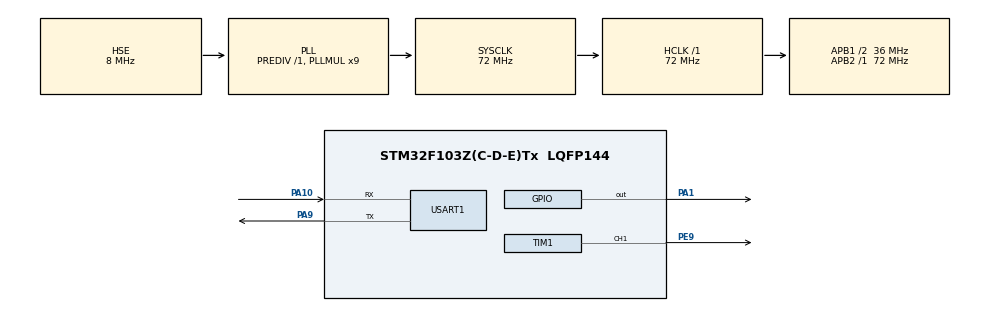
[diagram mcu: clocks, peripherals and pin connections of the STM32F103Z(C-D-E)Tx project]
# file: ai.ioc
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Mcu.Family=STM32F1
Mcu.Name=STM32F103Z(C-D-E)Tx
Mcu.Package=LQFP144
NVIC.PriorityGroup=NVIC_PRIORITYGROUP_4
NVIC.USART1_IRQn=true\:0\:0\:false\:false\:true\:true\:true\:true
OSC_IN.Mode=HSE-External-Oscillator
OSC_IN.Signal=RCC_OSC_IN
OSC_OUT.Mode=HSE-External-Oscillator
OSC_OUT.Signal=RCC_OSC_OUT
PA1.Signal=GPIO_Output
PA10.Mode=Asynchronous
PA10.Signal=USART1_RX
PA13.Mode=Serial_Wire
PA13.Signal=SYS_JTMS-SWDIO
PA14.Mode=Serial_Wire
PA14.Signal=SYS_JTCK-SWCLK
PA9.Mode=Asynchronous
PA9.Signal=USART1_TX
PE9.Signal=S_TIM1_CH1
ProjectManager.HeapSize=0x200
ProjectManager.StackSize=0x400
ProjectManager.TargetToolchain=MDK-ARM V5.32
RCC.AHBFreq_Value=72000000
RCC.APB1CLKDivider=RCC_HCLK_DIV2
RCC.APB1Freq_Value=36000000
RCC.APB1TimFreq_Value=72000000
RCC.APB2Freq_Value=72000000
RCC.APB2TimFreq_Value=72000000
RCC.HCLKFreq_Value=72000000
RCC.PLLMUL=RCC_PLL_MUL9
RCC.PLLSourceVirtual=RCC_PLLSOURCE_HSE
RCC.SYSCLKFreq_VALUE=72000000
RCC.SYSCLKSource=RCC_SYSCLKSOURCE_PLLCLK
RCC.USBFreq_Value=72000000
SH.S_TIM1_CH1.0=TIM1_CH1,PWM Generation1 CH1
TIM1.Channel-PWM\ Generation1\ CH1=TIM_CHANNEL_1
TIM1.Prescaler=72-1
USART1.VirtualMode=VM_ASYNC
board=custom

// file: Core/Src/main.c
/* USER CODE BEGIN Header */
/**
  ******************************************************************************
  * @file           : main.c
  * @brief          : Main program body
  ******************************************************************************
  * @attention
  *
  * Copyright (c) 2026 STMicroelectronics.
  * All rights reserved.
  *
  * This software is licensed under terms that can be found in the LICENSE file
  * in the root directory of this software component.
  * If no LICENSE file comes with this software, it is provided AS-IS.
  *
  ******************************************************************************
  */
/* USER CODE END Header */
#include "main.h"
#include "tim.h"
#include "usart.h"
#include "gpio.h"

/* USER CODE BEGIN Includes */
#include "gimbal.h"
/* USER CODE END Includes */

/* USER CODE BEGIN PV */
uint8_t rx_byte;                       /* USART1 单字节接收缓冲 */

/* 串口空闲计数：超过阈值即认为一帧已结束 */
uint32_t uart_idle_ticks = 0;
/* USER CODE END PV */

void SystemClock_Config(void);

/* USER CODE BEGIN 0 */
/* 二自由度云台协议解析、PWM 输出与角度限幅均在 gimbal.c / gimbal.h 中实现
 *
 * 上位机（AstrBot 插件）发送：
 *   "g1,<角度>a2,<角度>r"  同时设置两轴（1 = 水平舵机 PE9，2 = 竖直舵机 PE11）
 *   "s1,<角度>r"           只设置某一个轴
 */
#define UART_IDLE_RESET_TICKS   20U    /* 200ms 无新字节即认为帧已结束 */
#define LED_RX_PORT             GPIOA  /* 收到有效帧时的指示引脚     */
#define LED_RX_PIN              GPIO_PIN_1
/* USER CODE END 0 */

int main(void)
{

  /* MCU Configuration--------------------------------------------------------*/

  /* Reset of all peripherals, Initializes the Flash interface and the Systick. */
  HAL_Init();

  /* Configure the system clock */
  SystemClock_Config();

  /* Initialize all configured peripherals */
  MX_GPIO_Init();
  MX_TIM1_Init();
  MX_USART1_UART_Init();
  /* USER CODE BEGIN 2 */
    /* 初始化二自由度云台：启动 TIM1_CH1(PE9) / TIM1_CH2(PE11) 两路 PWM
       并把两个舵机都归中到 90° 正前方 */
    Gimbal_Init();

    /* 启动 USART1 单字节中断接收，字节在回调中送入云台解析状态机 */
    (void)HAL_UART_Receive_IT(&huart1, &rx_byte, 1);
  /* USER CODE END 2 */

  /* Infinite loop */
  while (1)
  {

    /* USER CODE BEGIN 3 */
      /* 空闲超时保护：上位机若只发了一半就断开，把残帧丢掉复位解析器 */
      if (uart_idle_ticks < UART_IDLE_RESET_TICKS)
      {
          uart_idle_ticks++;
      }
      Gimbal_PollTimeout();

      HAL_Delay(10);
  }
  /* USER CODE END 3 */
}

void SystemClock_Config(void)
{
  RCC_OscInitTypeDef RCC_OscInitStruct = {0};
  RCC_ClkInitTypeDef RCC_ClkInitStruct = {0};

  /** Initializes the RCC Oscillators according to the specified parameters
  * in the RCC_OscInitTypeDef structure.
  */
  RCC_OscInitStruct.OscillatorType = RCC_OSCILLATORTYPE_HSE;
  RCC_OscInitStruct.HSEState = RCC_HSE_ON;
  RCC_OscInitStruct.HSEPredivValue = RCC_HSE_PREDIV_DIV1;
  RCC_OscInitStruct.HSIState = RCC_HSI_ON;
  RCC_OscInitStruct.PLL.PLLState = RCC_PLL_ON;
  RCC_OscInitStruct.PLL.PLLSource = RCC_PLLSOURCE_HSE;
  RCC_OscInitStruct.PLL.PLLMUL = RCC_PLL_MUL9;
  if (HAL_RCC_OscConfig(&RCC_OscInitStruct) != HAL_OK)
  {
    Error_Handler();
  }

  /** Initializes the CPU, AHB and APB buses clocks
  */
  RCC_ClkInitStruct.ClockType = RCC_CLOCKTYPE_HCLK|RCC_CLOCKTYPE_SYSCLK
                              |RCC_CLOCKTYPE_PCLK1|RCC_CLOCKTYPE_PCLK2;
  RCC_ClkInitStruct.SYSCLKSource = RCC_SYSCLKSOURCE_PLLCLK;
  RCC_ClkInitStruct.AHBCLKDivider = RCC_SYSCLK_DIV1;
  RCC_ClkInitStruct.APB1CLKDivider = RCC_HCLK_DIV2;
  RCC_ClkInitStruct.APB2CLKDivider = RCC_HCLK_DIV1;

  if (HAL_RCC_ClockConfig(&RCC_ClkInitStruct, FLASH_LATENCY_2) != HAL_OK)
  {
    Error_Handler();
  }
}

/* USER CODE BEGIN 4 */
/**
  * @brief  串口接收完成回调（每收到一个字节触发一次）
  * @note   逐字节送入云台状态机；解析出完整帧时模块内部会直接更新 PWM。
  */
void HAL_UART_RxCpltCallback(UART_HandleTypeDef *huart)
{
    if (huart->Instance == USART1)
    {
        uart_idle_ticks = 0;

        if (Gimbal_ParseByte(rx_byte))
        {
            /* 解析出有效云台帧，翻转指示灯方便肉眼确认 */
            HAL_GPIO_TogglePin(LED_RX_PORT, LED_RX_PIN);
        }

        /* 重新启动接收，等待下一个字节 */
        (void)HAL_UART_Receive_IT(&huart1, &rx_byte, 1);
    }
}

/**
  * @brief  串口错误回调
  * @note   噪声、波特率不匹配或溢出会让 HAL 中止接收，
  *         这里重新挂上 Receive_IT 并复位解析器，避免云台彻底失联。
  */
void HAL_UART_ErrorCallback(UART_HandleTypeDef *huart)
{
    if (huart->Instance == USART1)
    {
        __HAL_UART_CLEAR_OREFLAG(huart);
        __HAL_UART_CLEAR_FEFLAG(huart);
        __HAL_UART_CLEAR_NEFLAG(huart);
        __HAL_UART_CLEAR_PEFLAG(huart);

        Gimbal_ResetParser();

        (void)HAL_UART_Receive_IT(&huart1, &rx_byte, 1);
    }
}
/* USER CODE END 4 */

void Error_Handler(void)
{
  __disable_irq();
  while (1)
  {
  }
}
